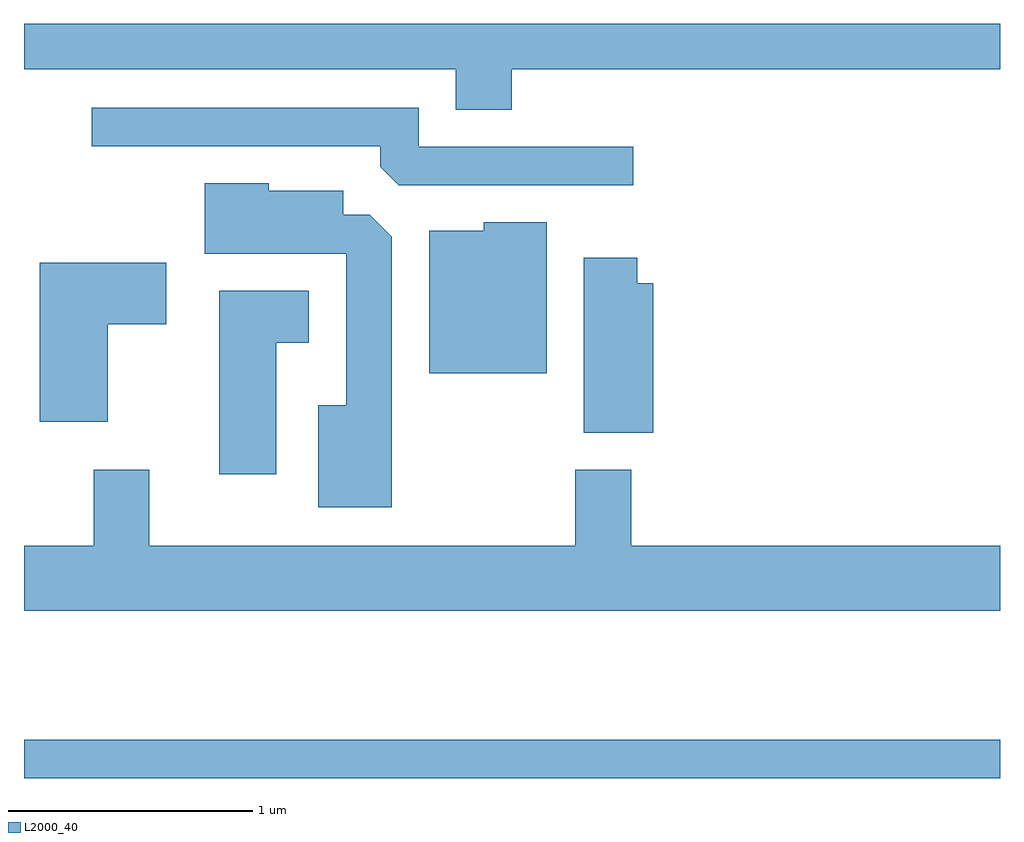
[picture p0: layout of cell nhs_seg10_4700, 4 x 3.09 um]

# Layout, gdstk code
import gdstk
lib = gdstk.Library(unit=1e-6, precision=1e-09)
def R(c, l, rs):  # rectangles x0, y0, x1, y1
    for r in rs: c.add(gdstk.rectangle(r[:2], r[2:], *l))
def P(c, l, *ps):  # polygons
    for p in ps: c.add(gdstk.Polygon(p, *l))
L2000_40 = (2000, 40)

nhs_seg10_4700 = lib.new_cell('nhs_seg10_4700')
R(nhs_seg10_4700, L2000_40, [(323.611,2135.431,327.611,2135.589)])
P(nhs_seg10_4700, L2000_40, [(325.609,2138.336),(327.611,2138.336),(327.611,2138.522),(323.611,2138.522),(323.611,2138.336),(325.381,2138.336),(325.381,2138.171),(325.609,2138.171)],
  [(326.108,2138.019),(325.229,2138.019),(325.229,2138.179),(323.888,2138.179),(323.888,2138.021),(325.071,2138.021),(325.071,2137.937),(325.147,2137.861),(326.108,2137.861)],
  [(325.119,2137.649),(325.029,2137.739),(324.919,2137.739),(324.919,2137.839),(324.614,2137.839),(324.614,2137.869),(324.351,2137.869),(324.351,2137.581),(324.931,2137.581),(324.931,2136.959),(324.816,2136.959),(324.816,2136.541),(325.119,2136.541)],
  [(325.754,2137.709),(325.496,2137.709),(325.496,2137.674),(325.271,2137.674),(325.271,2137.091),(325.754,2137.091)],
  [(326.189,2137.459),(326.124,2137.459),(326.124,2137.564),(325.906,2137.564),(325.906,2136.846),(326.189,2136.846)],
  [(323.954,2137.291),(324.194,2137.291),(324.194,2137.544),(323.676,2137.544),(323.676,2136.891),(323.954,2136.891)],
  [(324.644,2137.216),(324.779,2137.216),(324.779,2137.429),(324.411,2137.429),(324.411,2136.676),(324.644,2136.676)],
  [(327.611,2136.384),(326.099,2136.384),(326.099,2136.694),(325.871,2136.694),(325.871,2136.384),(324.124,2136.384),(324.124,2136.694),(323.896,2136.694),(323.896,2136.384),(323.611,2136.384),(323.611,2136.116),(327.611,2136.116)])

lib.write_gds('nhs_seg10_4700.gds')
